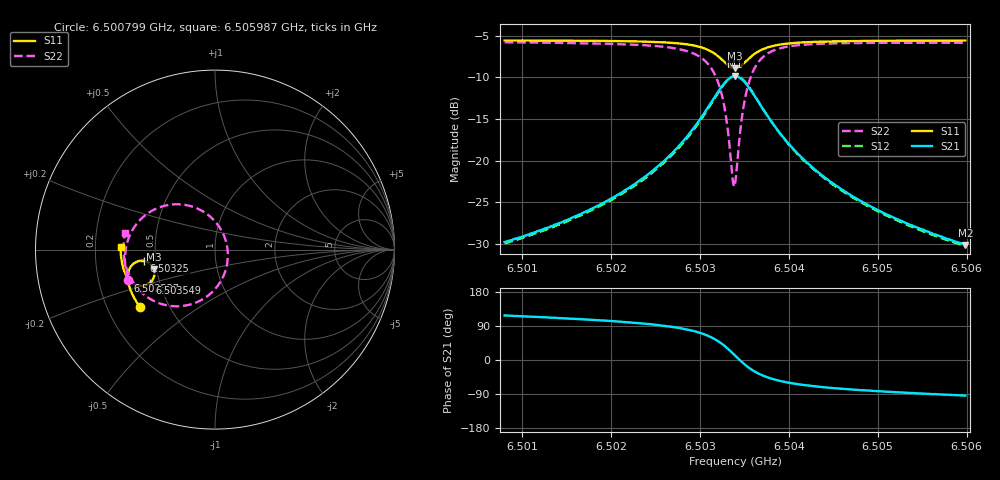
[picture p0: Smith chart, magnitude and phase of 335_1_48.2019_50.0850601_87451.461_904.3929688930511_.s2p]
#  HZ  S  RI  R  50.00
! Rohde & Schwarz Vector Network Analyzer
! Rohde-Schwarz,ZNB20-2Port,1311601062101988,3.16
! Created: UTC 3/20/2024, 11:51:03 AM
! freq[Hz]  re:S11  im:S11  re:S21  im:S21  re:S12  im:S12  re:S22  im:S22
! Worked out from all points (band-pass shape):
!   401 points, 6.500799 GHz to 6.505987 GHz, reference 50 ohm
!   highest |S21| = -9.87 dB at 6.503393 GHz (marker M1); lowest = -30.1 dB at 6.505987 GHz (marker M2)
!   |S21| within 3 dB of the highest: 6.503133 GHz to 6.503652 GHz (518.8 kHz wide, 0.00798 % of centre)
!   lowest |S11| = -8.9 dB at 6.503393 GHz (marker M3), VSWR 2.11, Z = 24.1 - j6.13 ohm
!   |S11| at or under -10 dB: nowhere
!   |S22| runs from -23.1 to -5.8 dB; largest |S21 - S12| = 0.011
!   S11 on the Smith chart (normalised r, x): 6.500799 GHz: 0.34, -0.30; 6.502537 GHz: 0.33, -0.15; 6.50325 GHz: 0.43, -0.06; 6.503549 GHz: 0.44, -0.20; 6.505987 GHz: 0.31, +0.01
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6.5007988e9  -0.4192 -0.3185  -0.015 0.0289  -0.0133 0.0289  -0.4855 -0.1676
6.5016678e9  -0.4577 -0.2557  -0.0146 0.0461  -0.0122 0.0458  -0.501 -0.0777
6.5021088e9  -0.4739 -0.2177  -0.0122 0.063  -0.00939 0.0622  -0.5 -0.0179
6.5025369e9  -0.4849 -0.1721  -0.00324 0.0938  0.000226 0.0916  -0.4815 0.0632
6.5028352e9  -0.4837 -0.1287  0.0204 0.1345  0.024 0.1305  -0.4325 0.1486
6.5030298e9  -0.4666 -0.0916  0.0663 0.1752  0.0691 0.1693  -0.3433 0.2206
6.5031595e9  -0.4352 -0.0673  0.1346 0.1975  0.1357 0.1913  -0.2192 0.2526
6.5032502e9  -0.3976 -0.0622  0.2097 0.1878  0.2101 0.1825  -0.089 0.2244
6.5033021e9  -0.3724 -0.0707  0.2574 0.1603  0.2581 0.1555  -0.01 0.168
6.503367e9  -0.3463 -0.0965  0.304 0.098  0.3066 0.0929  0.0605 0.048
6.5033929e9  -0.3401 -0.1108  0.3141 0.0664  0.3171 0.0605  0.0709 -0.0105
6.5034059e9  -0.3383 -0.1182  0.3167 0.05  0.3199 0.0437  0.0716 -0.0405
6.5034578e9  -0.3393 -0.1485  0.3112 -0.0143  0.3139 -0.023  0.0438 -0.1543
6.5034837e9  -0.3443 -0.1621  0.3 -0.0426  0.3018 -0.0524  0.0149 -0.2019
6.5035486e9  -0.3649 -0.1872  0.2583 -0.0954  0.2571 -0.1062  -0.0793 -0.2825
6.5036523e9  -0.4036 -0.2019  0.1856 -0.1308  0.1803 -0.1399  -0.2252 -0.3157
6.503821e9  -0.4488 -0.1919  0.106 -0.1281  0.0992 -0.1329  -0.3687 -0.2703
6.5040025e9  -0.4757 -0.1706  0.0627 -0.1089  0.0566 -0.1109  -0.4391 -0.2068
6.504262e9  -0.4962 -0.1405  0.0332 -0.0852  0.0287 -0.0857  -0.4816 -0.136
6.504664e9  -0.5121 -0.0995  0.0143 -0.0621  0.0111 -0.0618  -0.5041 -0.0596
6.505131e9  -0.5212 -0.0568  0.00494 -0.0467  0.00275 -0.046  -0.5097 0.00398
6.505987e9  -0.5258 0.0151  -0.00214 -0.0312  -0.0034 -0.0306  -0.5012 0.0927
